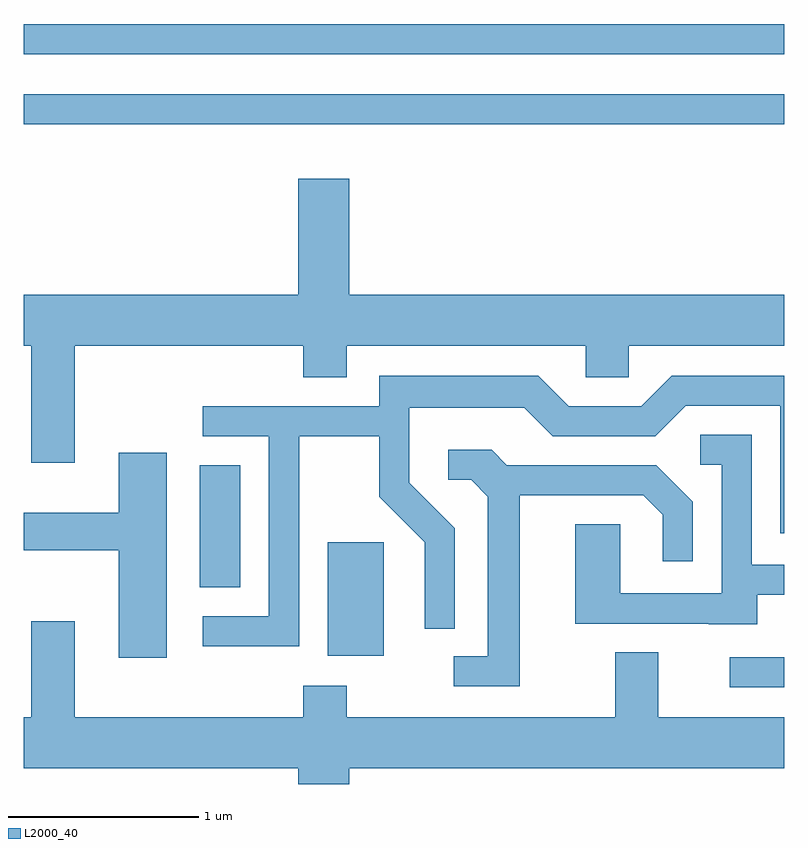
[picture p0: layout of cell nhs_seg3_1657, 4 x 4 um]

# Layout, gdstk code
import gdstk
lib = gdstk.Library(unit=1e-6, precision=1e-09)
def R(c, l, rs):  # rectangles x0, y0, x1, y1
    for r in rs: c.add(gdstk.rectangle(r[:2], r[2:], *l))
def P(c, l, *ps):  # polygons
    for p in ps: c.add(gdstk.Polygon(p, *l))
L2000_40 = (2000, 40)

nhs_seg3_1657 = lib.new_cell('nhs_seg3_1657')
R(nhs_seg3_1657, L2000_40, [(237.323,1166.401,237.611,1166.559), (235.211,1166.566,235.504,1167.164), (234.536,1166.926,234.749,1167.569), (233.611,1169.361,237.611,1169.519), (233.611,1169.731,237.611,1169.889)])
P(nhs_seg3_1657, L2000_40, [(233.879,1168.196),(235.081,1168.196),(235.081,1168.031),(235.309,1168.031),(235.309,1168.196),(236.566,1168.196),(236.566,1168.031),(236.794,1168.031),(236.794,1168.196),(237.611,1168.196),(237.611,1168.464),(235.324,1168.464),(235.324,1169.074),(235.056,1169.074),(235.056,1168.464),(233.611,1168.464),(233.611,1168.196),(233.651,1168.196),(233.651,1167.581),(233.879,1167.581)],
  [(235.059,1167.721),(235.481,1167.721),(235.481,1167.404),(235.721,1167.164),(235.721,1166.708),(235.879,1166.708),(235.879,1167.237),(235.639,1167.477),(235.639,1167.871),(236.244,1167.871),(236.394,1167.721),(236.932,1167.721),(237.092,1167.881),(237.591,1167.881),(237.591,1167.211),(237.611,1167.211),(237.611,1168.039),(237.019,1168.039),(236.859,1167.879),(236.477,1167.879),(236.317,1168.039),(235.481,1168.039),(235.481,1167.879),(234.553,1167.879),(234.553,1167.721),(234.901,1167.721),(234.901,1166.774),(234.553,1166.774),(234.553,1166.616),(235.059,1166.616)],
  [(237.469,1166.886),(237.611,1166.886),(237.611,1167.044),(237.439,1167.044),(237.439,1167.729),(237.168,1167.729),(237.168,1167.571),(237.281,1167.571),(237.281,1166.894),(236.749,1166.894),(236.749,1167.259),(236.511,1167.259),(236.511,1166.736),(237.215,1166.736),(237.215,1166.731),(237.469,1166.731)],
  [(236.219,1167.411),(236.869,1167.411),(236.971,1167.309),(236.971,1167.063),(237.129,1167.063),(237.129,1167.377),(236.937,1167.569),(236.152,1167.569),(236.072,1167.649),(235.843,1167.649),(235.843,1167.491),(235.964,1167.491),(236.051,1167.404),(236.051,1166.564),(235.873,1166.564),(235.873,1166.406),(236.219,1166.406)],
  [(234.364,1167.634),(234.111,1167.634),(234.111,1167.319),(233.611,1167.319),(233.611,1167.121),(234.111,1167.121),(234.111,1166.556),(234.364,1166.556)],
  [(235.324,1165.976),(237.611,1165.976),(237.611,1166.244),(236.949,1166.244),(236.949,1166.584),(236.721,1166.584),(236.721,1166.244),(235.309,1166.244),(235.309,1166.409),(235.081,1166.409),(235.081,1166.244),(233.879,1166.244),(233.879,1166.749),(233.651,1166.749),(233.651,1166.244),(233.611,1166.244),(233.611,1165.976),(235.056,1165.976),(235.056,1165.892),(235.324,1165.892)])

lib.write_gds('nhs_seg3_1657.gds')
